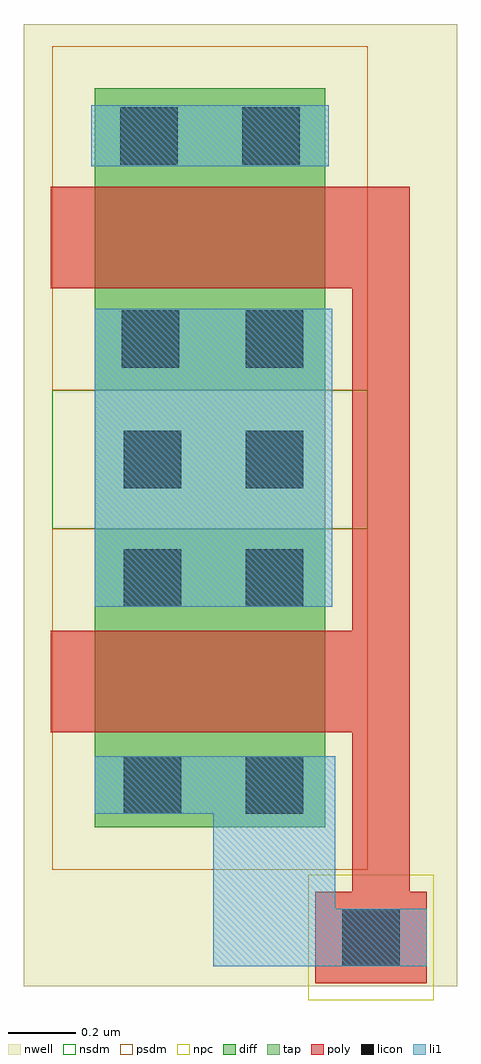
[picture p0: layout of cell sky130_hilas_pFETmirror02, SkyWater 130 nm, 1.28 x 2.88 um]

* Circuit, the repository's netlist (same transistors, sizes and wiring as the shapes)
* NGSPICE file created from /home/bjmuld/work/hilas/fastlane/PDKs/sky130A_hilas/libs.ref/sky130_hilas_sc/mag/sky130_hilas_pFETmirror02.ext - technology: sky130A


* Top level circuit /home/bjmuld/work/hilas/fastlane/PDKs/sky130A_hilas/libs.ref/sky130_hilas_sc/mag/sky130_hilas_pFETmirror02

X0 a_n80_650# a_n80_262# w_n122_178# w_n122_178# sky130_fd_pr__pfet_01v8 w=680000u l=300000u
X1 w_n122_178# a_n80_262# a_n80_262# w_n122_178# sky130_fd_pr__pfet_01v8 w=680000u l=300000u
.end

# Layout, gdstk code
from math import pi, radians
import gdstk
lib = gdstk.Library(unit=1e-6, precision=1e-09)
def R(c, l, rs):  # rectangles x0, y0, x1, y1
    for r in rs: c.add(gdstk.rectangle(r[:2], r[2:], *l))
nwell = (64, 20)
diff = (65, 20)
tap = (65, 44)
poly = (66, 20)
licon = (66, 44)
li1 = (67, 20)
nsdm = (93, 44)
psdm = (94, 20)
npc = (95, 20)

sky130_hilas_poly2li = lib.new_cell('sky130_hilas_poly2li')
R(sky130_hilas_poly2li, poly, [(-0.09,-0.14,0.18,0.19)])
R(sky130_hilas_poly2li, licon, [(-0.04,-0.06,0.13,0.11)])
R(sky130_hilas_poly2li, li1, [(-0.04,-0.14,0.13,0.19)])
R(sky130_hilas_poly2li, npc, [(-0.14,-0.16,0.23,0.21)])

sky130_hilas_pfetmirror0 = lib.new_cell('sky130_hilas_pFETmirror02')
R(sky130_hilas_pfetmirror0, nwell, [(-0.61,0.89,0.67,3.73)])
R(sky130_hilas_pfetmirror0, diff, [(-0.4,1.36,0.28,2.24), (-0.4,2.65,0.28,3.54)])
R(sky130_hilas_pfetmirror0, tap, [(-0.4,2.24,0.28,2.65)])
R(sky130_hilas_pfetmirror0, poly, [(0.36,1.12,0.53,1.64), (-0.53,1.64,0.53,1.94), (0.36,1.94,0.53,2.95), (-0.53,2.95,0.53,3.25)])
R(sky130_hilas_pfetmirror0, licon, [(-0.315,1.4,-0.145,1.57), (0.045,1.4,0.215,1.57), (-0.315,2.01,-0.145,2.18), (0.045,2.01,0.215,2.18), (-0.315,2.36,-0.145,2.53), (0.045,2.36,0.215,2.53), (-0.32,2.715,-0.15,2.885), (0.045,2.715,0.215,2.885), (-0.325,3.315,-0.155,3.485), (0.035,3.315,0.205,3.485)])
R(sky130_hilas_pfetmirror0, li1, [(-0.05,0.95,0.28,1.12), (-0.05,1.12,0.31,1.4), (-0.4,1.4,0.31,1.57), (-0.4,2.01,0.3,2.89), (-0.41,3.31,0.29,3.49)])
R(sky130_hilas_pfetmirror0, nsdm, [(-0.525,2.24,0.405,2.65)])
R(sky130_hilas_pfetmirror0, psdm, [(-0.525,1.235,0.405,2.24), (-0.525,2.65,0.405,3.665)])
sky130_hilas_pfetmirror0.add(gdstk.Reference(sky130_hilas_poly2li, (0.39,1.08), rotation=3*pi/2))

lib.write_gds('sky130_hilas_pFETmirror02.gds')
